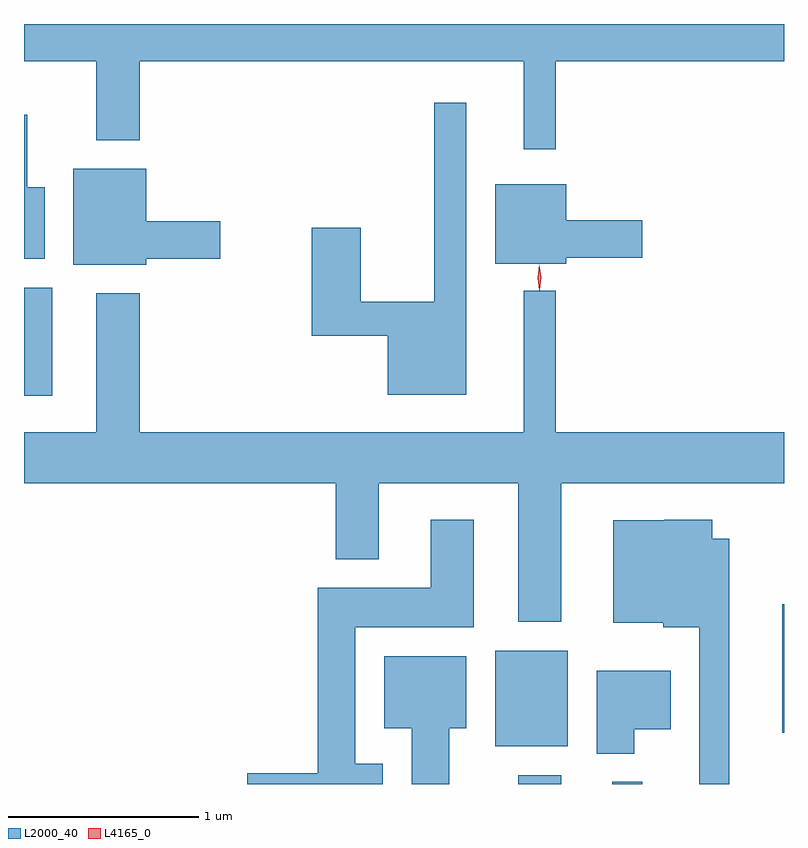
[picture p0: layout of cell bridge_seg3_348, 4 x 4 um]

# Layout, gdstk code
import gdstk
lib = gdstk.Library(unit=1e-6, precision=1e-09)
def R(c, l, rs):  # rectangles x0, y0, x1, y1
    for r in rs: c.add(gdstk.rectangle(r[:2], r[2:], *l))
def P(c, l, *ps):  # polygons
    for p in ps: c.add(gdstk.Polygon(p, *l))
L2000_40 = (2000, 40)
L4165_0 = (4165, 0)

bridge_seg3_348 = lib.new_cell('bridge_seg3_348')
R(bridge_seg3_348, L2000_40, [(690.691,1228.772,690.919,1228.819), (691.186,1228.772,691.344,1228.783), (690.571,1228.971,690.954,1229.474), (692.081,1229.041,692.091,1229.719), (688.091,1230.816,688.239,1231.384)])
P(bridge_seg3_348, L2000_40, [(690.889,1232.576),(692.091,1232.576),(692.091,1232.772),(688.091,1232.772),(688.091,1232.576),(688.471,1232.576),(688.471,1232.161),(688.699,1232.161),(688.699,1232.576),(690.721,1232.576),(690.721,1232.113),(690.889,1232.113)],
  [(690.419,1232.358),(690.251,1232.358),(690.251,1231.309),(689.864,1231.309),(689.864,1231.699),(689.606,1231.699),(689.606,1231.131),(690.006,1231.131),(690.006,1230.821),(690.419,1230.821)],
  [(688.199,1231.914),(688.109,1231.914),(688.109,1232.294),(688.091,1232.294),(688.091,1231.536),(688.199,1231.536)],
  [(688.734,1231.536),(689.124,1231.536),(689.124,1231.734),(688.734,1231.734),(688.734,1232.009),(688.351,1232.009),(688.351,1231.506),(688.734,1231.506)],
  [(690.944,1231.541),(691.344,1231.541),(691.344,1231.739),(690.944,1231.739),(690.944,1231.929),(690.571,1231.929),(690.571,1231.511),(690.944,1231.511)],
  [(690.919,1230.356),(692.091,1230.356),(692.091,1230.624),(690.889,1230.624),(690.889,1231.368),(690.721,1231.368),(690.721,1230.624),(688.699,1230.624),(688.699,1231.354),(688.471,1231.354),(688.471,1230.624),(688.091,1230.624),(688.091,1230.356),(689.731,1230.356),(689.731,1229.956),(689.959,1229.956),(689.959,1230.356),(690.691,1230.356),(690.691,1229.626),(690.919,1229.626)],
  [(691.804,1230.064),(691.714,1230.064),(691.714,1230.164),(691.46,1230.164),(691.46,1230.159),(691.191,1230.159),(691.191,1229.621),(691.456,1229.621),(691.456,1229.596),(691.646,1229.596),(691.646,1228.772),(691.804,1228.772)],
  [(689.979,1228.879),(689.834,1228.879),(689.834,1229.596),(690.459,1229.596),(690.459,1230.164),(690.231,1230.164),(690.231,1229.804),(689.636,1229.804),(689.636,1228.829),(689.266,1228.829),(689.266,1228.772),(689.979,1228.772)],
  [(690.329,1229.066),(690.419,1229.066),(690.419,1229.444),(689.986,1229.444),(689.986,1229.066),(690.131,1229.066),(690.131,1228.772),(690.329,1228.772)],
  [(691.304,1229.061),(691.494,1229.061),(691.494,1229.369),(691.106,1229.369),(691.106,1228.931),(691.304,1228.931)])
P(bridge_seg3_348, L4165_0, [(690.805,1231.37),(690.804,1231.371),(690.794,1231.437),(690.803,1231.504),(690.804,1231.505),(690.804,1231.504),(690.814,1231.438),(690.805,1231.371)])

lib.write_gds('bridge_seg3_348.gds')
